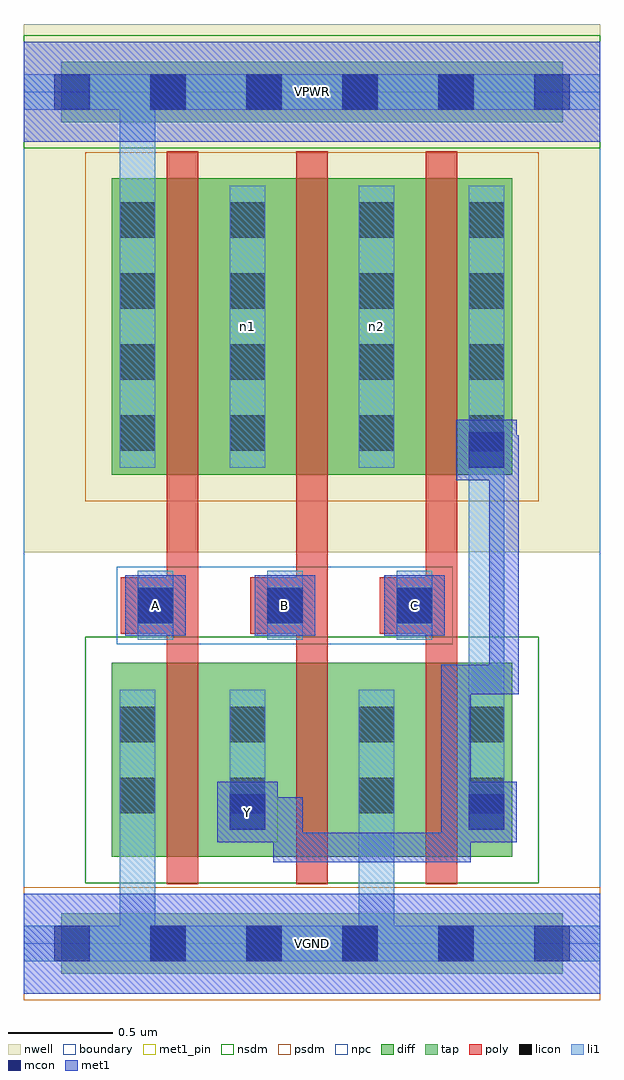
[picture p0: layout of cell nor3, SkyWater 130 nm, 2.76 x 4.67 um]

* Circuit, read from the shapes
.subckt nor3 A B C VGND VPWR Y n1 n2
XM1 Y A VGND VGND sky130_fd_pr__nfet_01v8 w=0.93 l=0.15
XM2 VGND B Y VGND sky130_fd_pr__nfet_01v8 w=0.93 l=0.15
XM3 Y C VGND VGND sky130_fd_pr__nfet_01v8 w=0.93 l=0.15
XM4 n1 A VPWR VPWR sky130_fd_pr__pfet_01v8 w=1.42 l=0.15
XM5 n2 B n1 VPWR sky130_fd_pr__pfet_01v8 w=1.42 l=0.15
XM6 Y C n2 VPWR sky130_fd_pr__pfet_01v8 w=1.42 l=0.15
.ends

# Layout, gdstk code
import gdstk
lib = gdstk.Library(unit=1e-6, precision=1e-09)
def R(c, l, rs):  # rectangles x0, y0, x1, y1
    for r in rs: c.add(gdstk.rectangle(r[:2], r[2:], *l))
def A(c, l, x, y, w, h, nx, ny, dx, dy):  # array of equal rectangles
    R(c, l, [(x+i*dx, y+j*dy, x+i*dx+w, y+j*dy+h) for i in range(nx) for j in range(ny)])
nwell = (64, 20)
diff = (65, 20)
tap = (65, 44)
poly = (66, 20)
licon = (66, 44)
li1 = (67, 20)
mcon = (67, 44)
met1_pin = (68, 16)
met1 = (68, 20)
nsdm = (93, 44)
psdm = (94, 20)
npc = (95, 20)
boundary = (235, 4)

nor3 = lib.new_cell('nor3')
R(nor3, nwell, [(0,1.875,2.76,4.405)])
R(nor3, diff, [(0.42,0.415,2.34,1.345), (0.42,2.245,2.34,3.665)])
R(nor3, tap, [(0.18,-0.145,2.58,0.145), (0.18,3.935,2.58,4.225)])
A(nor3, poly, 0.685, 0.285, 0.15, 3.51, 3, 1, 0.62, 0)
A(nor3, poly, 0.465, 1.485, 0.33, 0.27, 3, 1, 0.62, 0)
A(nor3, licon, 0.605, -0.085, 0.17, 0.17, 4, 2, 0.46, 4.08)
A(nor3, licon, 0.545, 1.535, 0.17, 0.17, 3, 1, 0.62, 0)
A(nor3, licon, 0.46, 2.36, 0.17, 0.17, 1, 4, 0, 0.34)
A(nor3, licon, 0.985, 2.36, 0.17, 0.17, 1, 4, 0, 0.34)
A(nor3, licon, 1.605, 2.36, 0.17, 0.17, 1, 4, 0, 0.34)
A(nor3, licon, 2.13, 2.36, 0.17, 0.17, 1, 4, 0, 0.34)
R(nor3, licon, [(0.46,0.625,0.63,0.795), (0.985,0.625,1.155,0.795), (1.605,0.625,1.775,0.795), (2.13,0.625,2.3,0.795), (0.46,0.965,0.63,1.135), (0.985,0.965,1.155,1.135), (1.605,0.965,1.775,1.135), (2.13,0.965,2.3,1.135)])
A(nor3, li1, 0.545, 1.455, 0.17, 0.33, 3, 1, 0.62, 0)
R(nor3, li1, [(0,-0.085,2.76,0.085), (0.46,-0.085,0.63,1.215), (1.605,-0.085,1.775,1.215), (0.46,0.545,0.63,1.215), (0.985,0.545,1.155,1.215), (1.605,0.545,1.775,1.215), (2.13,0.545,2.3,1.215), (2.13,0.545,2.3,3.63), (0.46,2.28,0.63,3.63), (0.46,2.28,0.63,4.165), (0.985,2.28,1.155,3.63), (1.605,2.28,1.775,3.63), (2.13,2.28,2.3,3.63), (0,3.995,2.76,4.165)])
A(nor3, mcon, 0.145, -0.085, 0.17, 0.17, 6, 2, 0.46, 4.08)
A(nor3, mcon, 0.545, 1.535, 0.17, 0.17, 3, 1, 0.62, 0)
R(nor3, mcon, [(0.985,0.545,1.155,0.715), (2.13,0.545,2.3,0.715), (2.13,2.28,2.3,2.45)])
A(nor3, met1_pin, 0.485, 1.475, 0.29, 0.29, 3, 1, 0.62, 0)
R(nor3, met1_pin, [(0,-0.24,2.76,0.24), (0.925,0.485,1.215,0.775), (0,3.84,2.76,4.32)])
A(nor3, met1, 0.485, 1.475, 0.29, 0.29, 3, 1, 0.62, 0)
R(nor3, met1, [(0,-0.24,2.76,0.24), (1.195,0.39,1.335,0.7), (1.195,0.39,2.14,0.53), (2,0.39,2.14,0.7), (2,0.39,2.14,1.335), (0.925,0.485,1.215,0.775), (2.07,0.485,2.36,0.775), (1,0.56,1.335,0.7), (2,0.56,2.285,0.7), (2,1.195,2.37,1.335), (2.23,1.195,2.37,2.255), (2.23,2.115,2.37,2.435), (2.07,2.22,2.36,2.51), (2.145,2.295,2.37,2.435), (0,3.84,2.76,4.32)])
R(nor3, nsdm, [(0.295,0.29,2.465,1.47), (0,3.81,2.76,4.35)])
R(nor3, psdm, [(0,-0.27,2.76,0.27), (0.295,2.12,2.465,3.79)])
R(nor3, npc, [(0.445,1.435,2.055,1.805)])
R(nor3, boundary, [(0,0,2.76,4.08)])
nor3.add(gdstk.Label('n1', (1.07,2.955), layer=67, texttype=5))
nor3.add(gdstk.Label('n2', (1.69,2.955), layer=67, texttype=5))
nor3.add(gdstk.Label('A', (0.63,1.62), layer=68, texttype=5))
nor3.add(gdstk.Label('B', (1.25,1.62), layer=68, texttype=5))
nor3.add(gdstk.Label('C', (1.87,1.62), layer=68, texttype=5))
nor3.add(gdstk.Label('Y', (1.07,0.63), layer=68, texttype=5))
nor3.add(gdstk.Label('VPWR', (1.38,4.08), layer=68, texttype=5))
nor3.add(gdstk.Label('VGND', (1.38,0), layer=68, texttype=5))
nor3.add(gdstk.Label('A', (0.63,1.62), layer=68, texttype=16))
nor3.add(gdstk.Label('B', (1.25,1.62), layer=68, texttype=16))
nor3.add(gdstk.Label('C', (1.87,1.62), layer=68, texttype=16))
nor3.add(gdstk.Label('Y', (1.07,0.63), layer=68, texttype=16))
nor3.add(gdstk.Label('VPWR', (1.38,4.08), layer=68, texttype=16))
nor3.add(gdstk.Label('VGND', (1.38,0), layer=68, texttype=16))

lib.write_gds('nor3.gds')
